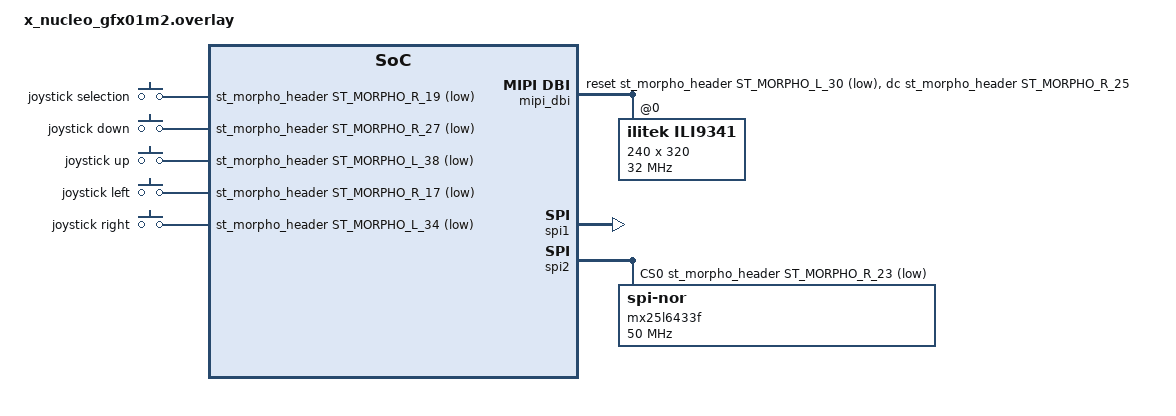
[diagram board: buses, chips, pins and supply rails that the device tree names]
/*
 * Copyright (c) 2025 Christian Rask
 *
 * SPDX-License-Identifier: Apache-2.0
 */

#include <zephyr/dt-bindings/display/ili9xxx.h>
#include <zephyr/dt-bindings/mipi_dbi/mipi_dbi.h>
#include <freq.h>
#include <mem.h>

/ {
	chosen {
		zephyr,display = &ili9341;
	};

	aliases {
		sw0 = &joy_sel;
	};

	gpio_keys {
		compatible = "gpio-keys";

		joy_sel: joystick_selection {
			label = "joystick selection";
			gpios = <&st_morpho_header ST_MORPHO_R_19 (GPIO_ACTIVE_LOW | GPIO_PULL_UP)>;
			zephyr,code = <INPUT_KEY_ENTER>;
		};

		joy_down: joystick_down {
			label = "joystick down";
			gpios = <&st_morpho_header ST_MORPHO_R_27 (GPIO_ACTIVE_LOW | GPIO_PULL_UP)>;
			zephyr,code = <INPUT_KEY_DOWN>;
		};

		joy_up: joystick_up {
			label = "joystick up";
			gpios = <&st_morpho_header ST_MORPHO_L_38 (GPIO_ACTIVE_LOW | GPIO_PULL_UP)>;
			zephyr,code = <INPUT_KEY_UP>;
		};

		joy_left: joystick_left {
			label = "joystick left";
			gpios = <&st_morpho_header ST_MORPHO_R_17 (GPIO_ACTIVE_LOW | GPIO_PULL_UP)>;
			zephyr,code = <INPUT_KEY_LEFT>;
		};

		joy_right: joystick_right {
			label = "joystick right";
			gpios = <&st_morpho_header ST_MORPHO_L_34 (GPIO_ACTIVE_LOW | GPIO_PULL_UP)>;
			zephyr,code = <INPUT_KEY_RIGHT>;
		};
	};

	mipi_dbi {
		compatible = "zephyr,mipi-dbi-spi";
		spi-dev = <&st_morpho_lcd_spi>;
		dc-gpios = <&st_morpho_header ST_MORPHO_R_25 GPIO_ACTIVE_HIGH>;
		te-gpios = <&st_morpho_header ST_MORPHO_L_28 GPIO_ACTIVE_HIGH>;
		reset-gpios = <&st_morpho_header ST_MORPHO_L_30 GPIO_ACTIVE_LOW>;
		#address-cells = <1>;
		#size-cells = <0>;
		write-only;

		ili9341: ili9341@0 {
			compatible = "ilitek,ili9341";
			mipi-max-frequency = <DT_FREQ_M(32)>;
			mipi-mode = "MIPI_DBI_MODE_SPI_4WIRE";
			/* Transmit on falling edge to avoid tearing, since display
			 * reads pixels faster than we can transfer.
			 */
			te-mode = "MIPI_DBI_TE_FALLING_EDGE";
			reg = <0>;
			width = <240>;
			height = <320>;
			rotation = <180>;
			pixel-format = <ILI9XXX_PIXEL_FORMAT_RGB565>;
			frmctr1 = [00 1f]; /* 60Hz frame rate */
		};
	};
};

st_morpho_lcd_spi: &spi1 {};
st_morpho_flash_spi: &spi2 {};

&st_morpho_lcd_spi {
	cs-gpios = <&st_morpho_header ST_MORPHO_R_21 (GPIO_ACTIVE_LOW | GPIO_PULL_UP)>;
	status = "okay";
};

&st_morpho_flash_spi {
	cs-gpios = <&st_morpho_header ST_MORPHO_R_23 (GPIO_ACTIVE_LOW | GPIO_PULL_UP)>;
	status = "okay";

	mx25l6433f: mx25l6433f@0 {
		compatible = "jedec,spi-nor";
		reg = <0>;
		spi-max-frequency = <DT_FREQ_M(50)>;
		size = <DT_SIZE_M(64)>;
		has-dpd;
		t-enter-dpd = <10000>;
		t-exit-dpd = <100000>;
		jedec-id = [c2 20 17];
	};
};
